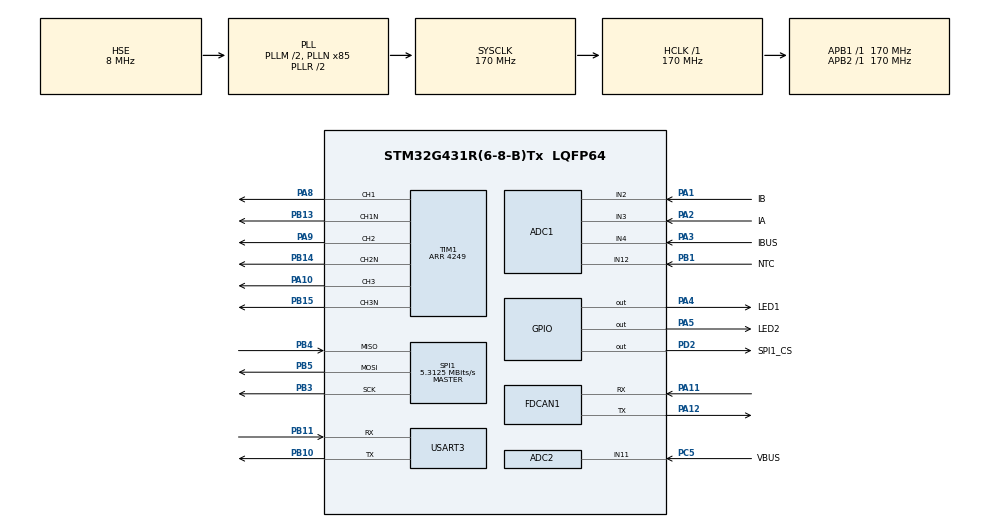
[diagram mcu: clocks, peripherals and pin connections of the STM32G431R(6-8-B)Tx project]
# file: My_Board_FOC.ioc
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ADC1.Channel-0\#ChannelRegularConversion=ADC_CHANNEL_4
ADC1.ContinuousConvMode=ENABLE
ADC1.EOCSelection=ADC_EOC_SEQ_CONV
ADC1.EnableInjectedConversion=ENABLE
ADC1.EnableRegularConversion=ENABLE
ADC1.ExternalTrigInjecConv=ADC_EXTERNALTRIGINJEC_T1_TRGO
ADC1.ExternalTrigInjecConvEdge=ADC_EXTERNALTRIGINJECCONV_EDGE_FALLING
ADC1.InjNumberOfConversion=3
ADC1.InjectedChannel-1\#ChannelInjectedConversion=ADC_CHANNEL_3
ADC1.InjectedChannel-2\#ChannelInjectedConversion=ADC_CHANNEL_2
ADC1.InjectedChannel-3\#ChannelInjectedConversion=ADC_CHANNEL_12
ADC1.InjectedOffsetNumber-1\#ChannelInjectedConversion=ADC_OFFSET_NONE
ADC1.InjectedOffsetNumber-2\#ChannelInjectedConversion=ADC_OFFSET_NONE
ADC1.InjectedOffsetNumber-3\#ChannelInjectedConversion=ADC_OFFSET_NONE
ADC1.InjectedRank-1\#ChannelInjectedConversion=1
ADC1.InjectedRank-2\#ChannelInjectedConversion=2
ADC1.InjectedRank-3\#ChannelInjectedConversion=3
ADC1.InjectedSamplingTime-1\#ChannelInjectedConversion=ADC_SAMPLETIME_24CYCLES_5
ADC1.InjectedSamplingTime-2\#ChannelInjectedConversion=ADC_SAMPLETIME_24CYCLES_5
ADC1.InjectedSamplingTime-3\#ChannelInjectedConversion=ADC_SAMPLETIME_247CYCLES_5
ADC1.NbrOfConversion=1
ADC1.NbrOfConversionFlag=1
ADC1.Overrun=ADC_OVR_DATA_OVERWRITTEN
ADC1.Rank-0\#ChannelRegularConversion=1
ADC1.SamplingTime-0\#ChannelRegularConversion=ADC_SAMPLETIME_47CYCLES_5
ADC1.master=1
ADC2.Channel-0\#ChannelRegularConversion=ADC_CHANNEL_11
ADC2.ContinuousConvMode=ENABLE
ADC2.EOCSelection=ADC_EOC_SEQ_CONV
ADC2.EnableRegularConversion=ENABLE
ADC2.NbrOfConversion=1
ADC2.NbrOfConversionFlag=1
ADC2.Overrun=ADC_OVR_DATA_OVERWRITTEN
ADC2.Rank-0\#ChannelRegularConversion=1
ADC2.SamplingTime-0\#ChannelRegularConversion=ADC_SAMPLETIME_247CYCLES_5
ADC2.master=1
Dma.Request0=USART3_TX
Dma.Request1=USART3_RX
Dma.USART3_RX.1.Direction=DMA_PERIPH_TO_MEMORY
Dma.USART3_RX.1.EventEnable=DISABLE
Dma.USART3_RX.1.Instance=DMA1_Channel2
Dma.USART3_RX.1.MemDataAlignment=DMA_MDATAALIGN_BYTE
Dma.USART3_RX.1.MemInc=DMA_MINC_ENABLE
Dma.USART3_RX.1.Mode=DMA_CIRCULAR
Dma.USART3_RX.1.PeriphDataAlignment=DMA_PDATAALIGN_BYTE
Dma.USART3_RX.1.PeriphInc=DMA_PINC_DISABLE
Dma.USART3_RX.1.Polarity=HAL_DMAMUX_REQ_GEN_RISING
Dma.USART3_RX.1.Priority=DMA_PRIORITY_HIGH
Dma.USART3_RX.1.RequestNumber=1
Dma.USART3_RX.1.SignalID=NONE
Dma.USART3_RX.1.SyncEnable=DISABLE
Dma.USART3_RX.1.SyncPolarity=HAL_DMAMUX_SYNC_NO_EVENT
Dma.USART3_RX.1.SyncRequestNumber=1
Dma.USART3_RX.1.SyncSignalID=NONE
Dma.USART3_TX.0.Direction=DMA_MEMORY_TO_PERIPH
Dma.USART3_TX.0.EventEnable=DISABLE
Dma.USART3_TX.0.Instance=DMA1_Channel1
Dma.USART3_TX.0.MemDataAlignment=DMA_MDATAALIGN_BYTE
Dma.USART3_TX.0.MemInc=DMA_MINC_ENABLE
Dma.USART3_TX.0.Mode=DMA_NORMAL
Dma.USART3_TX.0.PeriphDataAlignment=DMA_PDATAALIGN_BYTE
Dma.USART3_TX.0.PeriphInc=DMA_PINC_DISABLE
Dma.USART3_TX.0.Polarity=HAL_DMAMUX_REQ_GEN_RISING
Dma.USART3_TX.0.Priority=DMA_PRIORITY_LOW
Dma.USART3_TX.0.RequestNumber=1
Dma.USART3_TX.0.SignalID=NONE
Dma.USART3_TX.0.SyncEnable=DISABLE
Dma.USART3_TX.0.SyncPolarity=HAL_DMAMUX_SYNC_NO_EVENT
Dma.USART3_TX.0.SyncRequestNumber=1
Dma.USART3_TX.0.SyncSignalID=NONE
FDCAN1.AutoRetransmission=ENABLE
FDCAN1.CalculateBaudRateNominal=999999
FDCAN1.CalculateTimeBitNominal=1000
FDCAN1.CalculateTimeQuantumNominal=58.82352941176471
FDCAN1.NominalPrescaler=10
FDCAN1.NominalSyncJumpWidth=3
FDCAN1.NominalTimeSeg1=13
FDCAN1.NominalTimeSeg2=3
FDCAN1.StdFiltersNbr=2
Mcu.Family=STM32G4
Mcu.Name=STM32G431R(6-8-B)Tx
Mcu.Package=LQFP64
NVIC.ADC1_2_IRQn=true\:1\:0\:true\:false\:true\:true\:true\:true
NVIC.DMA1_Channel1_IRQn=true\:4\:0\:true\:false\:true\:false\:true\:true
NVIC.DMA1_Channel2_IRQn=true\:4\:0\:true\:false\:true\:false\:true\:true
NVIC.FDCAN1_IT0_IRQn=true\:5\:0\:true\:false\:true\:true\:true\:true
NVIC.PriorityGroup=NVIC_PRIORITYGROUP_4
NVIC.SPI1_IRQn=true\:2\:0\:true\:false\:true\:true\:true\:true
NVIC.TIM1_CC_IRQn=true\:5\:0\:true\:false\:true\:true\:true\:true
NVIC.TIM6_DAC_IRQn=true\:3\:0\:true\:false\:true\:true\:true\:true
NVIC.USART3_IRQn=true\:4\:0\:true\:false\:true\:true\:true\:true
PA1.GPIO_Label=IB
PA1.Mode=IN2-Single-Ended
PA1.Signal=ADC1_IN2
PA10.Signal=S_TIM1_CH3
PA11.Mode=FDCAN_Activate
PA11.Signal=FDCAN1_RX
PA12.Mode=FDCAN_Activate
PA12.Signal=FDCAN1_TX
PA13.Mode=Serial_Wire
PA13.Signal=SYS_JTMS-SWDIO
PA14.Mode=Serial_Wire
PA14.Signal=SYS_JTCK-SWCLK
PA2.GPIO_Label=IA
PA2.Mode=IN3-Single-Ended
PA2.Signal=ADC1_IN3
PA3.GPIO_Label=IBUS
PA3.Mode=IN4-Single-Ended
PA3.Signal=ADC1_IN4
PA4.GPIO_Label=LED1
PA4.PinState=GPIO_PIN_SET
PA4.Signal=GPIO_Output
PA5.GPIO_Label=LED2
PA5.PinState=GPIO_PIN_SET
PA5.Signal=GPIO_Output
PA8.Signal=S_TIM1_CH1
PA9.Signal=S_TIM1_CH2
PB1.GPIO_Label=NTC
PB1.Mode=IN12-Single-Ended
PB1.Signal=ADC1_IN12
PB10.Mode=Asynchronous
PB10.Signal=USART3_TX
PB11.Mode=Asynchronous
PB11.Signal=USART3_RX
PB13.Mode=PWM Generation1 CH1 CH1N
PB13.Signal=TIM1_CH1N
PB14.Mode=PWM Generation2 CH2 CH2N
PB14.Signal=TIM1_CH2N
PB15.Mode=PWM Generation3 CH3 CH3N
PB15.Signal=TIM1_CH3N
PB3.Mode=Full_Duplex_Master
PB3.Signal=SPI1_SCK
PB4.Mode=Full_Duplex_Master
PB4.Signal=SPI1_MISO
PB5.Mode=Full_Duplex_Master
PB5.Signal=SPI1_MOSI
PC5.GPIO_Label=VBUS
PC5.Mode=IN11-Single-Ended
PC5.Signal=ADC2_IN11
PD2.GPIO_Label=SPI1_CS
PD2.GPIO_PuPd=GPIO_PULLUP
PD2.GPIO_Speed=GPIO_SPEED_FREQ_HIGH
PD2.PinState=GPIO_PIN_SET
PD2.Signal=GPIO_Output
PF0-OSC_IN.Mode=HSE-External-Oscillator
PF0-OSC_IN.Signal=RCC_OSC_IN
PF1-OSC_OUT.Mode=HSE-External-Oscillator
PF1-OSC_OUT.Signal=RCC_OSC_OUT
ProjectManager.HeapSize=0x200
ProjectManager.StackSize=0x400
ProjectManager.TargetToolchain=CMake
RCC.ADC12Freq_Value=170000000
RCC.AHBFreq_Value=170000000
RCC.APB1Freq_Value=170000000
RCC.APB1TimFreq_Value=170000000
RCC.APB2Freq_Value=170000000
RCC.APB2TimFreq_Value=170000000
RCC.CortexFreq_Value=170000000
RCC.EXTERNAL_CLOCK_VALUE=12288000
RCC.HCLKFreq_Value=170000000
RCC.HSE_VALUE=8000000
RCC.HSI48_VALUE=48000000
RCC.HSI_VALUE=16000000
RCC.LSE_VALUE=32768
RCC.PLLM=RCC_PLLM_DIV2
RCC.PLLN=85
RCC.PLLSourceVirtual=RCC_PLLSOURCE_HSE
RCC.SYSCLKFreq_VALUE=170000000
RCC.SYSCLKSource=RCC_SYSCLKSOURCE_PLLCLK
RCC.USBFreq_Value=170000000
RCC.VCOOutputFreq_Value=340000000
SH.S_TIM1_CH1.0=TIM1_CH1,PWM Generation1 CH1 CH1N
SH.S_TIM1_CH2.0=TIM1_CH2,PWM Generation2 CH2 CH2N
SH.S_TIM1_CH3.0=TIM1_CH3,PWM Generation3 CH3 CH3N
SPI1.BaudRatePrescaler=SPI_BAUDRATEPRESCALER_32
SPI1.CLKPhase=SPI_PHASE_2EDGE
SPI1.CLKPolarity=SPI_POLARITY_HIGH
SPI1.CalculateBaudRate=5.3125 MBits/s
SPI1.DataSize=SPI_DATASIZE_8BIT
SPI1.Direction=SPI_DIRECTION_2LINES
SPI1.Mode=SPI_MODE_MASTER
SPI1.VirtualType=VM_MASTER
TIM1.AutoReloadPreload=TIM_AUTORELOAD_PRELOAD_ENABLE
TIM1.Channel-PWM\ Generation1\ CH1\ CH1N=TIM_CHANNEL_1
TIM1.Channel-PWM\ Generation2\ CH2\ CH2N=TIM_CHANNEL_2
TIM1.Channel-PWM\ Generation3\ CH3\ CH3N=TIM_CHANNEL_3
TIM1.Channel-PWM\ Generation4\ No\ Output=TIM_CHANNEL_4
TIM1.CounterMode=TIM_COUNTERMODE_CENTERALIGNED1
TIM1.DeadTime=68
TIM1.PeriodNoDither=4249
TIM1.PulseNoDither_4=4079
TIM1.TIM_MasterOutputTrigger=TIM_TRGO_OC4REF
TIM6.PeriodNoDither=25-1
TIM6.Prescaler=1700-1
TIM6.TIM_MasterOutputTrigger=TIM_TRGO_UPDATE
USART3.VirtualMode-Asynchronous=VM_ASYNC
VP_SYS_VS_DBSignals.Mode=DisableDeadBatterySignals
VP_TIM1_VS_ClockSourceINT.Mode=Internal
VP_TIM1_VS_no_output4.Mode=PWM Generation4 No Output
VP_TIM6_VS_ClockSourceINT.Mode=Enable_Timer
board=custom

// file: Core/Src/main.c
/* USER CODE BEGIN Header */
/**
  ******************************************************************************
  * @file           : main.c
  * @brief          : Main program body
  ******************************************************************************
  * @attention
  *
  * Copyright (c) 2026 STMicroelectronics.
  * All rights reserved.
  *
  * This software is licensed under terms that can be found in the LICENSE file
  * in the root directory of this software component.
  * If no LICENSE file comes with this software, it is provided AS-IS.
  *
  ******************************************************************************
  */
/* USER CODE END Header */
#include "main.h"
#include "adc.h"
#include "dma.h"
#include "fdcan.h"
#include "spi.h"
#include "tim.h"
#include "usart.h"
#include "gpio.h"

/* USER CODE BEGIN Includes */
#include "FSM.h"
#include "motor_config.h"
#include "vofa.h"
#include "motor_can.h"
/* USER CODE END Includes */

void SystemClock_Config(void);

int main(void)
{

  /* USER CODE BEGIN 1 */
    uint32_t last_send_ms = 0U;
  /* USER CODE END 1 */

  /* MCU Configuration--------------------------------------------------------*/

  /* Reset of all peripherals, Initializes the Flash interface and the Systick. */
  HAL_Init();

  /* Configure the system clock */
  SystemClock_Config();

  /* Initialize all configured peripherals */
  MX_GPIO_Init();
  MX_DMA_Init();
  MX_SPI1_Init();
  MX_TIM1_Init();
  MX_USART3_UART_Init();
  MX_ADC1_Init();
  MX_ADC2_Init();
  MX_TIM6_Init();
  MX_FDCAN1_Init();
  /* USER CODE BEGIN 2 */
    UART_FIFO_Init(&fifo);
    VOFA_Command_Init();
    Motor_Ctrl_System_Init(&motor_ctrl_system);
    if (!VOFA_Receive_Start())
    {
        Error_Handler();
    }
    if (!Motor_Can_Init())
    {
        Error_Handler();
    }

  /* USER CODE END 2 */

  /* Infinite loop */
    while (1)
    {

    /* USER CODE BEGIN 3 */
        ADC_Slow_Updata(&motor_ctrl_system.adc_detection);
        VOFA_Command_Process();
        Motor_Can_Process();
        Encoder_Offest_Calibration(&motor_ctrl_system.encoder);
        if ((HAL_GetTick() - last_send_ms) >= VOFA_SEND_PERIOD_MS)
        {
            last_send_ms = HAL_GetTick();
            VOFA_Send_Farme(&vofa_jf_send, JFCH_COUNT);
        }
        // 通信故障也驱动ERROR灯；处理器异常仍由GPIO_ErrorIndicate锁定指示。
        HAL_GPIO_WritePin(LED1_GPIO_Port, LED1_Pin,
            motor_ctrl_system.fault_code == MOTOR_FAULT_NONE ? GPIO_PIN_SET : GPIO_PIN_RESET);
        HAL_GPIO_WritePin(LED2_GPIO_Port, LED2_Pin,
            motor_ctrl_system.pwm_enabled ? GPIO_PIN_RESET : GPIO_PIN_SET);
    }
  /* USER CODE END 3 */
}

void SystemClock_Config(void)
{
  RCC_OscInitTypeDef RCC_OscInitStruct = {0};
  RCC_ClkInitTypeDef RCC_ClkInitStruct = {0};

  /** Configure the main internal regulator output voltage
  */
  HAL_PWREx_ControlVoltageScaling(PWR_REGULATOR_VOLTAGE_SCALE1_BOOST);

  /** Initializes the RCC Oscillators according to the specified parameters
  * in the RCC_OscInitTypeDef structure.
  */
  RCC_OscInitStruct.OscillatorType = RCC_OSCILLATORTYPE_HSE;
  RCC_OscInitStruct.HSEState = RCC_HSE_ON;
  RCC_OscInitStruct.PLL.PLLState = RCC_PLL_ON;
  RCC_OscInitStruct.PLL.PLLSource = RCC_PLLSOURCE_HSE;
  RCC_OscInitStruct.PLL.PLLM = RCC_PLLM_DIV2;
  RCC_OscInitStruct.PLL.PLLN = 85;
  RCC_OscInitStruct.PLL.PLLP = RCC_PLLP_DIV2;
  RCC_OscInitStruct.PLL.PLLQ = RCC_PLLQ_DIV2;
  RCC_OscInitStruct.PLL.PLLR = RCC_PLLR_DIV2;
  if (HAL_RCC_OscConfig(&RCC_OscInitStruct) != HAL_OK)
  {
    Error_Handler();
  }

  /** Initializes the CPU, AHB and APB buses clocks
  */
  RCC_ClkInitStruct.ClockType = RCC_CLOCKTYPE_HCLK|RCC_CLOCKTYPE_SYSCLK
                              |RCC_CLOCKTYPE_PCLK1|RCC_CLOCKTYPE_PCLK2;
  RCC_ClkInitStruct.SYSCLKSource = RCC_SYSCLKSOURCE_PLLCLK;
  RCC_ClkInitStruct.AHBCLKDivider = RCC_SYSCLK_DIV1;
  RCC_ClkInitStruct.APB1CLKDivider = RCC_HCLK_DIV1;
  RCC_ClkInitStruct.APB2CLKDivider = RCC_HCLK_DIV1;

  if (HAL_RCC_ClockConfig(&RCC_ClkInitStruct, FLASH_LATENCY_4) != HAL_OK)
  {
    Error_Handler();
  }
}

void Error_Handler(void)
{
  /* USER CODE BEGIN Error_Handler_Debug */
    TIM1->BDTR &= ~TIM_BDTR_MOE;
    __disable_irq();
    GPIO_ErrorIndicate();
    while (1)
    {
    }
  /* USER CODE END Error_Handler_Debug */
}
